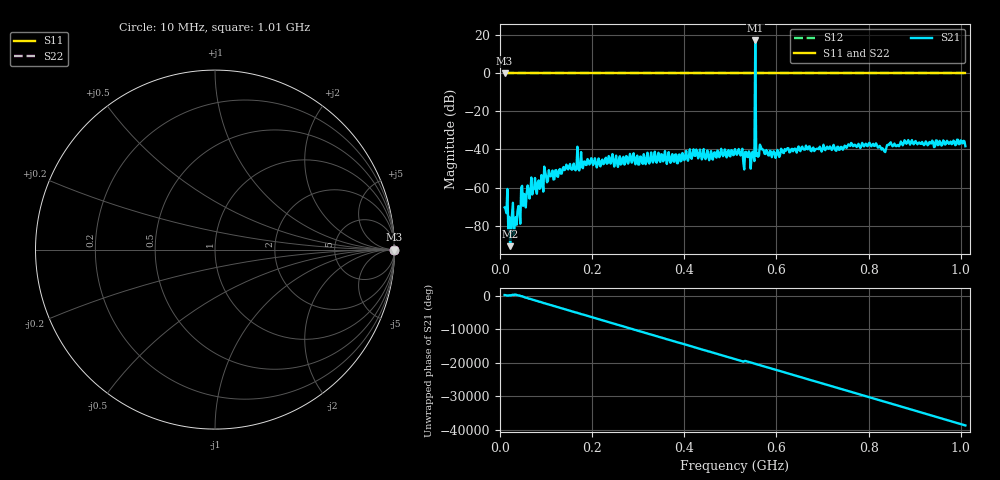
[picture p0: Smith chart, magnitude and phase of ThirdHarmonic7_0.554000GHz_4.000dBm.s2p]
! 8/17/2025 4:52:15 PM
! C:\ANRITSUVNA\TEMP\TEMP.S2P
! CHANNEL.1
! TR.MEASUREMENT
! RAW.DATA
! RF.CORRECTION.OFF
! AVERAGING.OFF
! IF.BANDWIDTH: 5KHZ
! SWEEPTYPE:  FREQ.SWEEP(Linear)
! Reference Plane Port Info
! PORT:  PORT1  PORT2
! DISTANCE:  0  m  0  m
! TIME:  0  s  0  s
! PHASE.OFFSET:  0  deg.  0  deg.
! LOSS:  0  dB  0  dB
! REF.LOSS:  0  dB  0  dB
! REF.FREQ:  0  Hz  0  Hz
! Power Info
! POWER:  -20  dBm  -20  dBm
! EFF.POWER:  -20  dBm  -20  dBm
! SOURCE.ATTEN:  0  dB  0  dB
! TEST.ATTEN:  0  dB  0  dB
# GHZ S RI R 50.0
! FREQ.GHZ  S11RE  S11IM  S21RE  S21IM  S12RE  S12IM  S22RE  S22IM
!; PortSelection: Port_12
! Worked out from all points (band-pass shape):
!   501 points, 10 MHz to 1.01 GHz, reference 50 ohm
!   highest |S21| = 17.29 dB at 554 MHz (marker M1); lowest = -90.8 dB at 22 MHz (marker M2)
!   |S21| within 3 dB of the highest: 553.9053 MHz to 554.0988 MHz (193.5 kHz wide, 0.0349 % of centre)
!   lowest |S11| = 0.0 dB at 10 MHz (marker M3)
!   |S11| at or under -10 dB: nowhere
!   |S22| runs from 0.0 to 0.0 dB; largest |S21 - S12| = 8.3
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0.01  1 0  -0.000283 9.71e-05  1 0  1 0
0.012  1 0  -0.000223 0.000154  1 0  1 0
0.022  1 0  -9e-06 2.73e-05  1 0  1 0
0.04  1 0  0.000287 0.000155  1 0  1 0
0.05  1 0  0.000313 0.000102  1 0  1 0
0.054  1 0  -0.000606 0.000219  1 0  1 0
0.072  1 0  -0.000842 0.000295  1 0  1 0
0.09  1 0  -0.00211 0.000184  1 0  1 0
0.094  1 0  0.000778 -4.05e-05  1 0  1 0
0.178  1 0  -0.00328 -0.00106  1 0  1 0
0.344  1 0  0.00813 -0.00107  1 0  1 0
0.51  1 0  -0.00959 -0.00354  1 0  1 0
0.548  1 0  -0.00367 0.00791  1 0  1 0
0.55  1 0  0.0073 0.00225  1 0  1 0
0.554  1 0  -7.312 -0.24  1 0  1 0
0.558  1 0  0.00326 0.00736  1 0  1 0
0.56  1 0  0.00639 -0.000722  1 0  1 0
0.678  1 0  0.00669 -0.0083  1 0  1 0
0.798  1 0  -0.0114 0.00439  1 0  1 0
0.832  1 0  -0.00683 -0.00755  1 0  1 0
0.844  1 0  -0.00683 0.0111  1 0  1 0
1.01  1 0  0.000323 -0.0122  1 0  1 0
